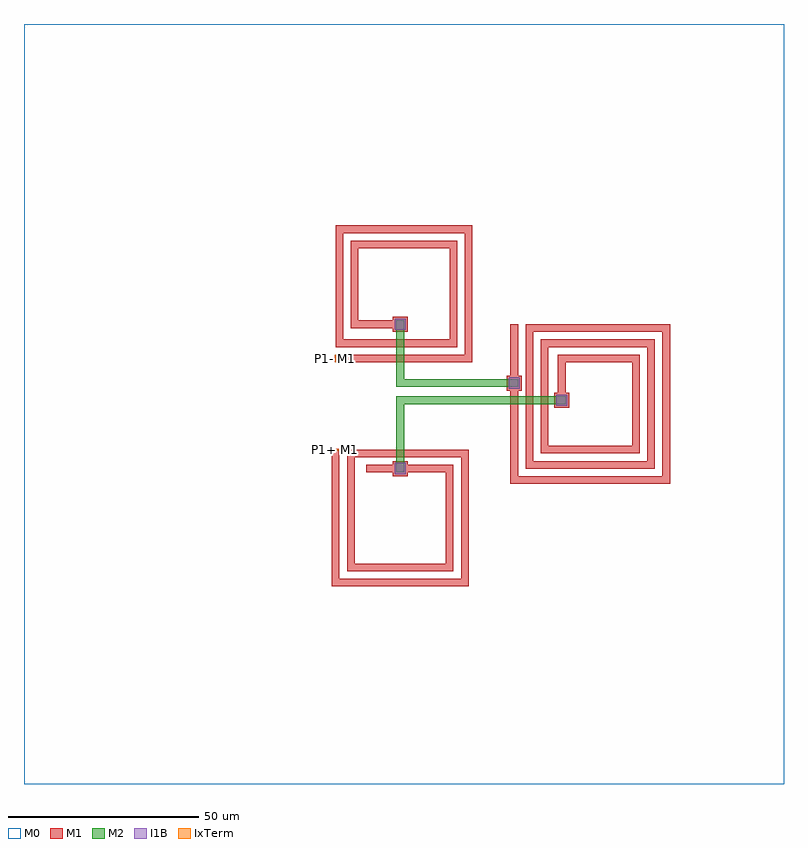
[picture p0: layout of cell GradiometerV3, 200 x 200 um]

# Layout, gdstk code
from math import pi, radians
import gdstk
lib = gdstk.Library(unit=1e-6, precision=1e-09)
def R(c, l, rs):  # rectangles x0, y0, x1, y1
    for r in rs: c.add(gdstk.rectangle(r[:2], r[2:], *l))
M1 = (1, 0)
I1B = (3, 0)
M2 = (6, 0)
M0 = (30, 0)
IxTerm = (63, 0)

via_m2_m1 = lib.new_cell('Via$M2-M1')
R(via_m2_m1, M1, [(-2,-2,2,2)])
R(via_m2_m1, I1B, [(-1.5,-1.5,1.5,1.5)])
R(via_m2_m1, M2, [(-1,-1,1,1)])

squarespiral_3 = lib.new_cell('SquareSpiral$3')
squarespiral_3.add(gdstk.FlexPath([(-10,13),(12,13),(12,-13),(-14,-13),(-14,17),(16,17),(16,-17),(-18,-17),(-18,18)], 2, ends="flush", simple_path=True, layer=1, datatype=0))  # M1

squarespiral = lib.new_cell('SquareSpiral')
squarespiral.add(gdstk.FlexPath([(-9,12),(11,12),(11,-12),(-13,-12),(-13,16),(15,16),(15,-16),(-17,-16),(-17,20),(19,20),(19,-20),(-21,-20),(-21,21)], 2, ends="flush", simple_path=True, layer=1, datatype=0))  # M1

gradiometerv3 = lib.new_cell('GradiometerV3')
R(gradiometerv3, M0, [(-100,-100,100,100)])
gradiometerv3.add(gdstk.FlexPath([(42.5,1),(-1,1),(-1,-18)], 2, ends="flush", simple_path=True, layer=6, datatype=0))  # M2
gradiometerv3.add(gdstk.FlexPath([(-1,22),(-1,5.5),(30,5.5)], 2, ends="flush", simple_path=True, layer=6, datatype=0))  # M2
gradiometerv3.add(gdstk.FlexPath([(-14,21),(0,21)], 2, ends="flush", simple_path=True, layer=1, datatype=0))  # M1
gradiometerv3.add(gdstk.FlexPath([(41.5,13),(41.5,0)], 2, ends="flush", simple_path=True, layer=1, datatype=0))  # M1
gradiometerv3.add(gdstk.FlexPath([(-19,-12),(-17,-12)], 0.5, ends="flush", simple_path=True, layer=63, datatype=0))  # IxTerm
gradiometerv3.add(gdstk.FlexPath([(-18,13),(-18,11)], 0.5, ends="flush", simple_path=True, layer=63, datatype=0))  # IxTerm
gradiometerv3.add(gdstk.Reference(via_m2_m1, (-1,-17)))
gradiometerv3.add(gdstk.Reference(via_m2_m1, (41.5,1)))
gradiometerv3.add(gdstk.Reference(via_m2_m1, (29,5.5)))
gradiometerv3.add(gdstk.Reference(via_m2_m1, (-1,21)))
gradiometerv3.add(gdstk.Reference(squarespiral_3, (0,-30)))
gradiometerv3.add(gdstk.Reference(squarespiral_3, (0,30), rotation=pi/2))
gradiometerv3.add(gdstk.Reference(squarespiral, (50,0)))
gradiometerv3.add(gdstk.Label('P1- M1', (-18,12), layer=64, texttype=0))
gradiometerv3.add(gdstk.Label('P1+ M1', (-18,-12), layer=64, texttype=0))

lib.write_gds('GradiometerV3.gds')
